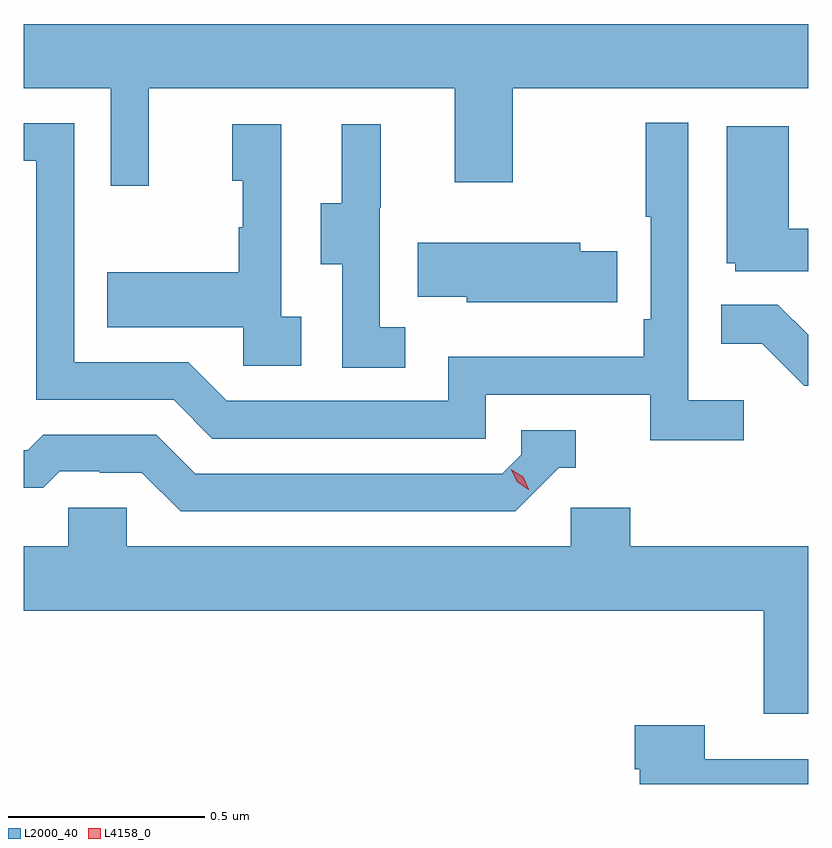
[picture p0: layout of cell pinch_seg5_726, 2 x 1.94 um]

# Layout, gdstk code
import gdstk
lib = gdstk.Library(unit=1e-6, precision=1e-09)
def P(c, l, *ps):  # polygons
    for p in ps: c.add(gdstk.Polygon(p, *l))
L2000_40 = (2000, 40)
L4158_0 = (4158, 0)

pinch_seg5_726 = lib.new_cell('pinch_seg5_726')
P(pinch_seg5_726, L2000_40, [(1081.175,840.776),(1081.955,840.776),(1081.955,840.537),(1082.103,840.537),(1082.103,840.776),(1082.856,840.776),(1082.856,840.94),(1080.856,840.94),(1080.856,840.776),(1081.077,840.776),(1081.077,840.528),(1081.175,840.528)],
  [(1082.692,839.98),(1082.55,839.98),(1082.55,840.688),(1082.442,840.688),(1082.442,840.448),(1082.454,840.448),(1082.454,840.187),(1082.437,840.187),(1082.437,840.091),(1081.938,840.091),(1081.938,839.979),(1081.374,839.979),(1081.275,840.078),(1080.984,840.078),(1080.984,840.687),(1080.856,840.687),(1080.856,840.591),(1080.888,840.591),(1080.888,839.982),(1081.238,839.982),(1081.337,839.883),(1082.034,839.883),(1082.034,839.994),(1082.453,839.994),(1082.453,839.878),(1082.692,839.878)],
  [(1081.828,840.167),(1081.764,840.167),(1081.764,840.471),(1081.766,840.471),(1081.766,840.685),(1081.667,840.685),(1081.667,840.483),(1081.613,840.483),(1081.613,840.328),(1081.668,840.328),(1081.668,840.064),(1081.828,840.064)],
  [(1081.564,840.194),(1081.512,840.194),(1081.512,840.685),(1081.388,840.685),(1081.388,840.54),(1081.414,840.54),(1081.414,840.422),(1081.404,840.422),(1081.404,840.307),(1081.069,840.307),(1081.069,840.167),(1081.416,840.167),(1081.416,840.069),(1081.564,840.069)],
  [(1082.856,840.418),(1082.806,840.418),(1082.806,840.679),(1082.648,840.679),(1082.648,840.33),(1082.67,840.33),(1082.67,840.309),(1082.856,840.309)],
  [(1082.258,840.231),(1082.369,840.231),(1082.369,840.36),(1082.275,840.36),(1082.275,840.382),(1081.861,840.382),(1081.861,840.245),(1081.986,840.245),(1081.986,840.23),(1082.258,840.23)],
  [(1082.856,840.147),(1082.779,840.224),(1082.635,840.224),(1082.635,840.125),(1082.739,840.125),(1082.846,840.018),(1082.856,840.018)],
  [(1082.22,839.808),(1082.263,839.808),(1082.263,839.904),(1082.124,839.904),(1082.124,839.841),(1082.076,839.793),(1081.293,839.793),(1081.194,839.892),(1080.905,839.892),(1080.866,839.853),(1080.856,839.853),(1080.856,839.757),(1080.905,839.757),(1080.947,839.799),(1081.05,839.799),(1081.05,839.796),(1081.157,839.796),(1081.256,839.697),(1082.109,839.697)],
  [(1082.856,839.608),(1082.402,839.608),(1082.402,839.706),(1082.25,839.706),(1082.25,839.608),(1081.119,839.608),(1081.119,839.706),(1080.969,839.706),(1080.969,839.608),(1080.856,839.608),(1080.856,839.444),(1082.743,839.444),(1082.743,839.181),(1082.856,839.181)],
  [(1082.856,839.065),(1082.592,839.065),(1082.592,839.152),(1082.414,839.152),(1082.414,839.039),(1082.426,839.039),(1082.426,839.002),(1082.856,839.002)])
P(pinch_seg5_726, L4158_0, [(1082.144,839.752),(1082.114,839.772),(1082.098,839.805),(1082.098,839.805),(1082.098,839.805),(1082.129,839.785),(1082.144,839.753),(1082.144,839.752)])

lib.write_gds('pinch_seg5_726.gds')
